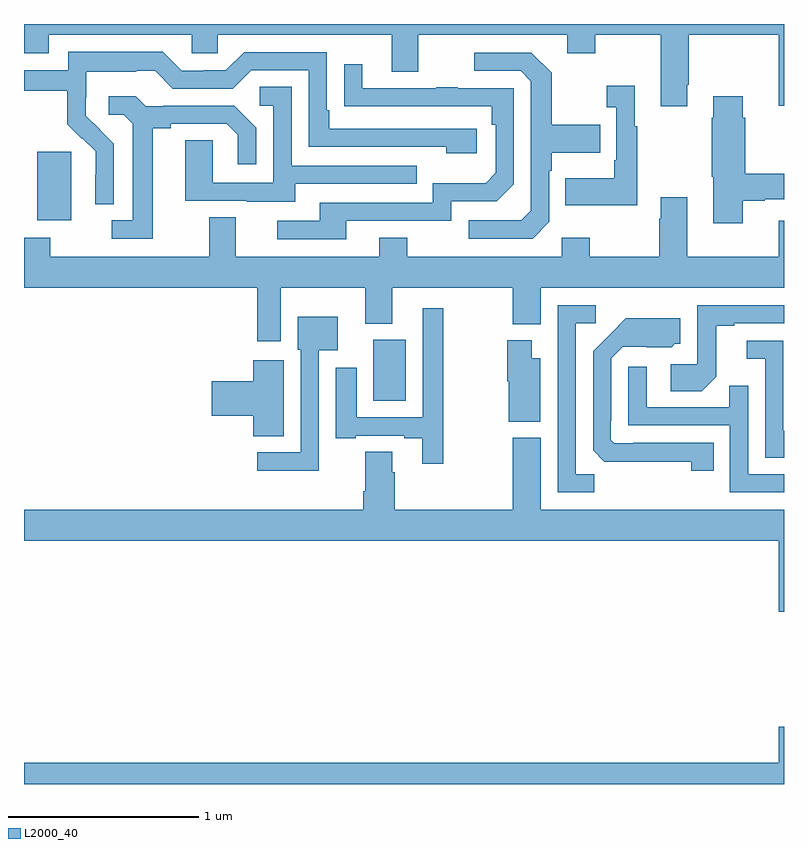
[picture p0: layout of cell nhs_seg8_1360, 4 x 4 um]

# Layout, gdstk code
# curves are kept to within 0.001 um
import gdstk
lib = gdstk.Library(unit=1e-6, precision=1e-09)
def R(c, l, rs):  # rectangles x0, y0, x1, y1
    for r in rs: c.add(gdstk.rectangle(r[:2], r[2:], *l))
def P(c, l, *ps):  # polygons
    for p in ps: c.add(gdstk.Polygon(p, *l))
L2000_40 = (2000, 40)

nhs_seg8_1360 = lib.new_cell('nhs_seg8_1360')
R(nhs_seg8_1360, L2000_40, [(198.839,1103.918,199.009,1104.238), (197.069,1104.866,197.248,1105.227)])
P(nhs_seg8_1360, L2000_40, [(200.491,1105.579),(200.499,1105.579),(200.499,1105.844),(200.972,1105.844),(200.972,1105.47),(201,1105.47),(201,1105.9),(197,1105.9),(197,1105.745),(197.131,1105.745),(197.131,1105.844),(197.883,1105.844),(197.883,1105.746),(198.021,1105.746),(198.021,1105.844),(198.935,1105.844),(198.935,1105.65),(199.075,1105.65),(199.075,1105.844),(199.859,1105.844),(199.859,1105.745),(200.007,1105.745),(200.007,1105.844),(200.351,1105.844),(200.351,1105.467),(200.491,1105.467)],
  [(197.472,1105.27),(197.326,1105.418),(197.326,1105.515),(197.328,1105.515),(197.328,1105.649),(197.591,1105.649),(197.591,1105.653),(197.691,1105.653),(197.784,1105.56),(198.099,1105.56),(198.195,1105.656),(198.498,1105.656),(198.498,1105.254),(199.223,1105.254),(199.223,1105.22),(199.384,1105.22),(199.384,1105.35),(198.607,1105.35),(198.607,1105.447),(198.594,1105.447),(198.594,1105.752),(198.159,1105.752),(198.063,1105.656),(197.945,1105.656),(197.945,1105.653),(197.829,1105.653),(197.729,1105.753),(197.232,1105.753),(197.232,1105.656),(197,1105.656),(197,1105.548),(197.227,1105.548),(197.227,1105.373),(197.304,1105.296),(197.307,1105.299),(197.378,1105.229),(197.378,1105.106),(197.376,1105.106),(197.376,1104.952),(197.472,1104.952)],
  [(199.764,1104.858),(199.764,1105.127),(199.777,1105.127),(199.777,1105.223),(200.033,1105.223),(200.033,1105.371),(199.777,1105.371),(199.777,1105.643),(199.671,1105.749),(199.371,1105.749),(199.371,1105.653),(199.614,1105.653),(199.668,1105.599),(199.668,1104.918),(199.617,1104.867),(199.341,1104.867),(199.341,1104.771),(199.677,1104.771)],
  [(198.697,1104.864),(199.248,1104.864),(199.248,1104.966),(199.488,1104.966),(199.578,1105.056),(199.578,1105.563),(199.283,1105.563),(199.283,1105.568),(199.171,1105.568),(199.171,1105.563),(198.781,1105.563),(198.781,1105.687),(198.685,1105.687),(198.685,1105.468),(199.462,1105.467),(199.462,1105.37),(199.482,1105.37),(199.482,1105.116),(199.429,1105.063),(199.152,1105.063),(199.152,1104.96),(198.557,1104.96),(198.557,1104.864),(198.333,1104.864),(198.333,1104.768),(198.697,1104.768)],
  [(200.227,1105.363),(200.215,1105.363),(200.215,1105.576),(200.067,1105.576),(200.067,1105.463),(200.118,1105.463),(200.118,1105.183),(200.106,1105.183),(200.106,1105.087),(199.849,1105.087),(199.849,1104.947),(200.227,1104.947)],
  [(198.427,1105.059),(199.067,1105.059),(199.067,1105.155),(198.408,1105.155),(198.408,1105.571),(198.24,1105.571),(198.24,1105.47),(198.312,1105.47),(198.312,1105.065),(197.994,1105.065),(197.994,1105.289),(197.849,1105.289),(197.849,1104.969),(198.173,1104.969),(198.173,1104.965),(198.427,1104.965)],
  [(200.782,1104.97),(200.898,1104.97),(200.898,1104.977),(201,1104.977),(201,1105.112),(200.795,1105.112),(200.795,1105.406),(200.782,1105.406),(200.782,1105.519),(200.627,1105.519),(200.627,1105.406),(200.62,1105.406),(200.62,1105.095),(200.627,1105.095),(200.627,1104.852),(200.782,1104.852)],
  [(197.677,1105.352),(197.773,1105.352),(197.773,1105.374),(198.068,1105.374),(198.125,1105.317),(198.125,1105.161),(198.222,1105.161),(198.222,1105.354),(198.106,1105.47),(197.734,1105.47),(197.734,1105.467),(197.64,1105.467),(197.588,1105.519),(197.445,1105.519),(197.445,1105.422),(197.526,1105.422),(197.573,1105.375),(197.573,1104.867),(197.463,1104.867),(197.463,1104.771),(197.677,1104.771)],
  [(198.352,1104.512),(198.797,1104.512),(198.797,1104.323),(198.937,1104.323),(198.937,1104.512),(199.573,1104.512),(199.573,1104.32),(199.72,1104.32),(199.72,1104.512),(201,1104.512),(201,1104.865),(200.972,1104.865),(200.972,1104.676),(200.491,1104.676),(200.491,1104.988),(200.351,1104.988),(200.351,1104.875),(200.344,1104.875),(200.344,1104.676),(199.977,1104.676),(199.977,1104.775),(199.83,1104.775),(199.83,1104.676),(199.017,1104.676),(199.017,1104.775),(198.869,1104.775),(198.869,1104.676),(198.115,1104.676),(198.115,1104.884),(197.975,1104.884),(197.975,1104.676),(197.139,1104.676),(197.139,1104.775),(197,1104.775),(197,1104.512),(198.227,1104.512),(198.227,1104.231),(198.352,1104.231)],
  [(200.001,1103.531),(199.905,1103.531),(199.905,1104.324),(200.008,1104.324),(200.008,1104.42),(199.809,1104.42),(199.809,1103.436),(200.001,1103.436)],
  [(200.643,1104.044),(200.643,1104.312),(200.737,1104.312),(200.737,1104.324),(201,1104.324),(201,1104.42),(200.544,1104.42),(200.544,1104.108),(200.403,1104.108),(200.403,1103.968),(200.567,1103.968)],
  [(199.207,1104.403),(199.098,1104.403),(199.098,1103.829),(198.751,1103.829),(198.751,1104.091),(198.641,1104.091),(198.641,1103.721),(198.745,1103.721),(198.745,1103.733),(199.001,1103.733),(199.001,1103.721),(199.097,1103.721),(199.097,1103.586),(199.207,1103.586)],
  [(198.552,1104.182),(198.652,1104.182),(198.652,1104.358),(198.44,1104.358),(198.44,1104.186),(198.456,1104.186),(198.456,1103.646),(198.228,1103.646),(198.228,1103.549),(198.552,1103.549)],
  [(200.63,1103.697),(200.206,1103.697),(200.206,1103.694),(200.106,1103.694),(200.088,1103.712),(200.088,1103.812),(200.091,1103.812),(200.091,1104.141),(200.151,1104.201),(200.408,1104.2),(200.424,1104.216),(200.455,1104.216),(200.455,1104.352),(200.167,1104.352),(199.995,1104.178),(199.995,1103.656),(200.054,1103.597),(200.512,1103.596),(200.512,1103.55),(200.63,1103.55)],
  [(199.717,1104.142),(199.672,1104.142),(199.672,1104.235),(199.543,1104.235),(199.543,1104.021),(199.55,1104.021),(199.55,1103.807),(199.717,1103.807)],
  [(201,1103.76),(200.997,1103.76),(200.997,1104.234),(200.805,1104.234),(200.805,1104.137),(200.901,1104.137),(200.901,1103.617),(201,1103.617)],
  [(198.367,1104.13),(198.206,1104.13),(198.206,1104.02),(197.988,1104.02),(197.988,1103.837),(198.206,1103.837),(198.206,1103.731),(198.367,1103.731)],
  [(201,1103.529),(200.811,1103.529),(200.811,1103.996),(200.713,1103.996),(200.713,1103.883),(200.277,1103.883),(200.277,1104.097),(200.181,1104.097),(200.181,1103.787),(200.715,1103.787),(200.715,1103.436),(201,1103.436)],
  [(201,1103.344),(199.72,1103.344),(199.72,1103.722),(199.573,1103.722),(199.573,1103.344),(198.95,1103.344),(198.95,1103.54),(198.937,1103.54),(198.937,1103.648),(198.797,1103.648),(198.797,1103.44),(198.785,1103.44),(198.785,1103.344),(197,1103.344),(197,1103.18),(200.972,1103.18),(200.972,1102.806),(201,1102.806)],
  [(201,1102.201),(200.972,1102.201),(200.972,1102.012),(197,1102.012),(197,1101.9),(201,1101.9)])

lib.write_gds('nhs_seg8_1360.gds')
